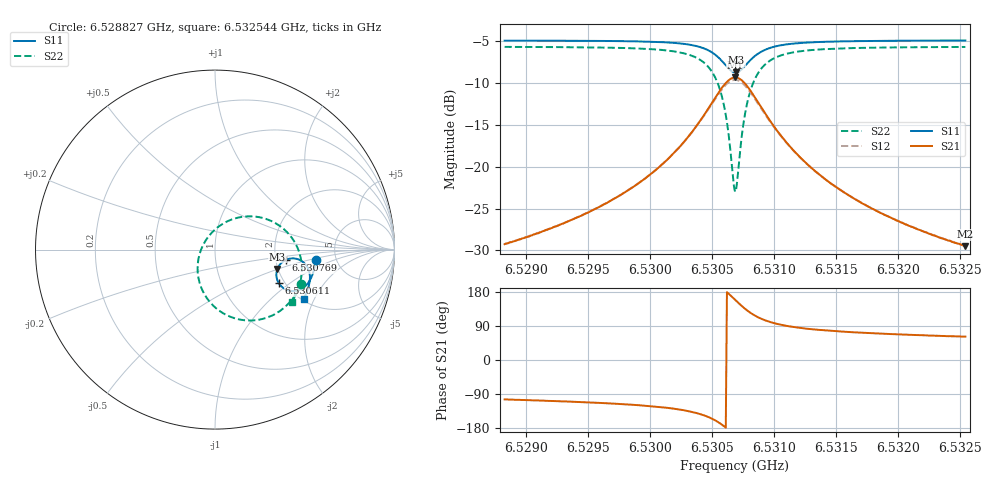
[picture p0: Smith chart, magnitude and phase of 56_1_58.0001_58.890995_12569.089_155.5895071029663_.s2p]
#  HZ  S  RI  R  50.00
! Rohde & Schwarz Vector Network Analyzer
! Rohde-Schwarz,ZNB20-2Port,1311601062101988,3.16
! Created: UTC 3/21/2024, 12:52:47 AM
! freq[Hz]  re:S11  im:S11  re:S21  im:S21  re:S12  im:S12  re:S22  im:S22
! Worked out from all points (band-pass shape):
!   401 points, 6.528827 GHz to 6.532544 GHz, reference 50 ohm
!   highest |S21| = -9.37 dB at 6.530685 GHz (marker M1); lowest = -29.5 dB at 6.532544 GHz (marker M2)
!   |S21| within 3 dB of the highest: 6.5305 GHz to 6.530873 GHz (372.5 kHz wide, 0.0057 % of centre)
!   lowest |S11| = -8.8 dB at 6.530695 GHz (marker M3), VSWR 2.15, Z = 99.3 - j24.6 ohm
!   |S11| at or under -10 dB: nowhere
!   |S22| runs from -23.0 to -5.7 dB; largest |S21 - S12| = 0.014
!   S11 on the Smith chart (normalised r, x): 6.528827 GHz: 3.47, -0.60; 6.530611 GHz: 1.86, -0.83; 6.530769 GHz: 2.29, -0.31; 6.532544 GHz: 2.06, -1.66
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6.5288271e9  0.5608 -0.0585  -0.00841 -0.0334  -0.00904 -0.0333  0.4816 -0.1896
6.5294496e9  0.5513 -0.1122  -0.0185 -0.0476  -0.0197 -0.0474  0.4489 -0.2515
6.5297841e9  0.5407 -0.1452  -0.031 -0.062  -0.0327 -0.0612  0.4161 -0.2944
6.5300721e9  0.5235 -0.1792  -0.0552 -0.0824  -0.0576 -0.0808  0.3613 -0.3424
6.5302951e9  0.4936 -0.2112  -0.1019 -0.1055  -0.1051 -0.1018  0.2673 -0.3857
6.5304531e9  0.4445 -0.2305  -0.1805 -0.1119  -0.1831 -0.1039  0.1231 -0.3864
6.530546e9  0.3936 -0.2217  -0.2599 -0.0786  -0.2584 -0.0669  -0.0081 -0.3139
6.5305832e9  0.3707 -0.2059  -0.294 -0.0444  -0.289 -0.0322  -0.0587 -0.2489
6.530611e9  0.3556 -0.1874  -0.3151 -0.00783  -0.3071 0.00355  -0.0861 -0.184
6.5306389e9  0.3451 -0.1633  -0.3273 0.037  -0.3166 0.0465  -0.0972 -0.1072
6.5306668e9  0.3421 -0.1356  -0.3268 0.0872  -0.314 0.0935  -0.0861 -0.0251
6.5306854e9  0.345 -0.1166  -0.3181 0.1202  -0.3048 0.1244  -0.0652 0.0277
6.5306947e9  0.3479 -0.1075  -0.3113 0.1363  -0.298 0.1392  -0.051 0.0522
6.530769e9  0.3969 -0.0563  -0.218 0.2222  -0.2091 0.2184  0.1182 0.1757
6.5307969e9  0.4191 -0.05  -0.1781 0.2324  -0.1715 0.228  0.186 0.1854
6.530834e9  0.4461 -0.0499  -0.1312 0.2322  -0.1269 0.2282  0.2647 0.1766
6.5309269e9  0.4918 -0.0703  -0.0538 0.2013  -0.0519 0.199  0.3912 0.1074
6.5310663e9  0.5198 -0.1077  -0.0059 0.1495  -0.00477 0.1485  0.463 0.00219
6.5313079e9  0.529 -0.1545  0.015 0.0962  0.0161 0.0958  0.4838 -0.1087
6.5315866e9  0.5252 -0.1908  0.0186 0.0661  0.0196 0.0658  0.4758 -0.1781
6.5319304e9  0.5158 -0.2249  0.0182 0.0466  0.019 0.0463  0.4586 -0.2308
6.5325436e9  0.4943 -0.2741  0.0159 0.0295  0.0166 0.0292  0.427 -0.2915
